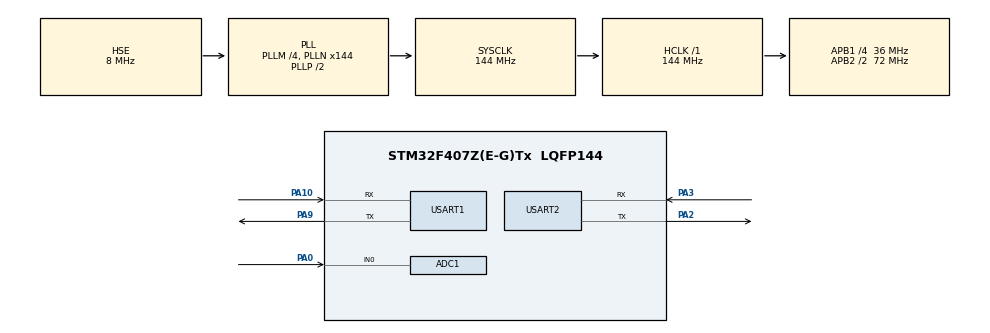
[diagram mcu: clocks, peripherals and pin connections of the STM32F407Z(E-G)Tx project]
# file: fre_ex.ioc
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ADC1.Channel-0\#ChannelRegularConversion=ADC_CHANNEL_0
ADC1.ClockPrescaler=ADC_CLOCK_SYNC_PCLK_DIV2
ADC1.ExternalTrigConv=ADC_EXTERNALTRIGCONV_T3_TRGO
ADC1.NbrOfConversionFlag=1
ADC1.Rank-0\#ChannelRegularConversion=1
ADC1.SamplingTime-0\#ChannelRegularConversion=ADC_SAMPLETIME_3CYCLES
ADC1.master=1
Dma.ADC1.0.Direction=DMA_PERIPH_TO_MEMORY
Dma.ADC1.0.FIFOMode=DMA_FIFOMODE_DISABLE
Dma.ADC1.0.Instance=DMA2_Stream0
Dma.ADC1.0.MemDataAlignment=DMA_MDATAALIGN_HALFWORD
Dma.ADC1.0.MemInc=DMA_MINC_ENABLE
Dma.ADC1.0.Mode=DMA_NORMAL
Dma.ADC1.0.PeriphDataAlignment=DMA_PDATAALIGN_HALFWORD
Dma.ADC1.0.PeriphInc=DMA_PINC_DISABLE
Dma.ADC1.0.Priority=DMA_PRIORITY_LOW
Dma.Request0=ADC1
Mcu.Family=STM32F4
Mcu.Name=STM32F407Z(E-G)Tx
Mcu.Package=LQFP144
NVIC.DMA2_Stream0_IRQn=true\:0\:0\:false\:false\:true\:false\:true\:true
NVIC.PriorityGroup=NVIC_PRIORITYGROUP_4
PA0-WKUP.Signal=ADCx_IN0
PA10.Mode=Asynchronous
PA10.Signal=USART1_RX
PA13.Mode=Serial_Wire
PA13.Signal=SYS_JTMS-SWDIO
PA14.Mode=Serial_Wire
PA14.Signal=SYS_JTCK-SWCLK
PA2.Mode=Asynchronous
PA2.Signal=USART2_TX
PA3.Mode=Asynchronous
PA3.Signal=USART2_RX
PA9.Mode=Asynchronous
PA9.Signal=USART1_TX
PH0-OSC_IN.Mode=HSE-External-Oscillator
PH0-OSC_IN.Signal=RCC_OSC_IN
PH1-OSC_OUT.Mode=HSE-External-Oscillator
PH1-OSC_OUT.Signal=RCC_OSC_OUT
ProjectManager.HeapSize=0x200
ProjectManager.StackSize=0x400
ProjectManager.TargetToolchain=MDK-ARM V5.32
RCC.48MHZClocksFreq_Value=72000000
RCC.AHBFreq_Value=144000000
RCC.APB1CLKDivider=RCC_HCLK_DIV4
RCC.APB1Freq_Value=36000000
RCC.APB1TimFreq_Value=72000000
RCC.APB2CLKDivider=RCC_HCLK_DIV2
RCC.APB2Freq_Value=72000000
RCC.APB2TimFreq_Value=144000000
RCC.CortexFreq_Value=144000000
RCC.HCLKFreq_Value=144000000
RCC.HSE_VALUE=8000000
RCC.HSI_VALUE=16000000
RCC.LSE_VALUE=32768
RCC.PLLM=4
RCC.PLLN=144
RCC.PLLSourceVirtual=RCC_PLLSOURCE_HSE
RCC.SYSCLKFreq_VALUE=144000000
RCC.SYSCLKSource=RCC_SYSCLKSOURCE_PLLCLK
RCC.VCOOutputFreq_Value=288000000
SH.ADCx_IN0.0=ADC1_IN0,IN0
TIM3.AutoReloadPreload=TIM_AUTORELOAD_PRELOAD_ENABLE
TIM3.Period=13-1
TIM3.Prescaler=3-1
TIM3.TIM_MasterOutputTrigger=TIM_TRGO_UPDATE
USART1.VirtualMode=VM_ASYNC
USART2.VirtualMode=VM_ASYNC
VP_TIM3_VS_ClockSourceINT.Mode=Internal
board=custom

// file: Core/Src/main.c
/* USER CODE BEGIN Header */
/**
  ******************************************************************************
  * @file           : main.c
  * @brief          : Main program body
  ******************************************************************************
  * @attention
  *
  * Copyright (c) 2025 STMicroelectronics.
  * All rights reserved.
  *
  * This software is licensed under terms that can be found in the LICENSE file
  * in the root directory of this software component.
  * If no LICENSE file comes with this software, it is provided AS-IS.
  *
  ******************************************************************************
  */
/* USER CODE END Header */
#include "main.h"
#include "adc.h"
#include "dma.h"
#include "tim.h"
#include "usart.h"
#include "gpio.h"

/* USER CODE BEGIN Includes */
#include "arm_math.h"
#include "arm_const_structs.h"
#include "stdio.h"
/* USER CODE END Includes */

/* USER CODE BEGIN PD */
#define FFT_LENGTH 1024
/* USER CODE END PD */

/* USER CODE BEGIN PV */
uint16_t adc_buff[200];//存放ADC采集的数据
/*
AdcConvEnd用来检测ADC是否采集完毕
0：没有采集完毕
1：采集完毕，在stm32f1xx_it里的DMA完成中断进行修改
 */
__IO uint8_t AdcConvEnd = 0;
uint16_t adcBuff[FFT_LENGTH];
float fft_inputbuf[FFT_LENGTH * 2];
float fft_outputbuf[FFT_LENGTH];
float vol[FFT_LENGTH];
uint32_t Pointmax = 0;
float volmax=0;
float volmin=3.3;
float fftmax = 0.0f;
float peakval=0;
///////////////////////////
float count=0;//作为判断波形的计数变量
float cnt=0;//作为判断计数的变量
/* USER CODE END PV */

void SystemClock_Config(void);
/* USER CODE BEGIN PFP */
void Calculate_Frequency(uint16_t *adc_data, uint32_t fft_size, float sampling_freq);
/* USER CODE END PFP */

int main(void)
{

  /* USER CODE BEGIN 1 */
  float sampling_freq = 1846153.84615f; // 修改为1MHz
  /* USER CODE END 1 */

  /* MCU Configuration--------------------------------------------------------*/

  /* Reset of all peripherals, Initializes the Flash interface and the Systick. */
  HAL_Init();

  /* Configure the system clock */
  SystemClock_Config();

  /* Initialize all configured peripherals */
  MX_GPIO_Init();
  MX_DMA_Init();
  MX_ADC1_Init();
  MX_TIM3_Init();
  MX_USART1_UART_Init();
  MX_USART2_UART_Init();
  /* USER CODE BEGIN 2 */
HAL_ADC_Start_DMA(&hadc1, (uint32_t *)adcBuff, FFT_LENGTH);
HAL_TIM_Base_Start(&htim3);

while (!AdcConvEnd)       //等待转换完毕
	;
Calculate_Frequency(adcBuff, FFT_LENGTH, sampling_freq);
HAL_ADC_Start_DMA(&hadc1, (uint32_t *)adcBuff, FFT_LENGTH);
 for(int i =0;i<100;i++)
 {
     //向曲线s0的通道0传输1个数据,add指令不支持跨页面
     printf("add s0.id,0,%.3f\xff\xff\xff",adc_buff[i]*3.3/4095);
 }
  /* USER CODE END 2 */

  /* Infinite loop */
  while (1)
  {
        }

}

void SystemClock_Config(void)
{
  RCC_OscInitTypeDef RCC_OscInitStruct = {0};
  RCC_ClkInitTypeDef RCC_ClkInitStruct = {0};

  /** Configure the main internal regulator output voltage
  */
  __HAL_RCC_PWR_CLK_ENABLE();
  __HAL_PWR_VOLTAGESCALING_CONFIG(PWR_REGULATOR_VOLTAGE_SCALE1);

  /** Initializes the RCC Oscillators according to the specified parameters
  * in the RCC_OscInitTypeDef structure.
  */
  RCC_OscInitStruct.OscillatorType = RCC_OSCILLATORTYPE_HSE;
  RCC_OscInitStruct.HSEState = RCC_HSE_ON;
  RCC_OscInitStruct.PLL.PLLState = RCC_PLL_ON;
  RCC_OscInitStruct.PLL.PLLSource = RCC_PLLSOURCE_HSE;
  RCC_OscInitStruct.PLL.PLLM = 4;
  RCC_OscInitStruct.PLL.PLLN = 144;
  RCC_OscInitStruct.PLL.PLLP = RCC_PLLP_DIV2;
  RCC_OscInitStruct.PLL.PLLQ = 4;
  if (HAL_RCC_OscConfig(&RCC_OscInitStruct) != HAL_OK)
  {
    Error_Handler();
  }

  /** Initializes the CPU, AHB and APB buses clocks
  */
  RCC_ClkInitStruct.ClockType = RCC_CLOCKTYPE_HCLK|RCC_CLOCKTYPE_SYSCLK
                              |RCC_CLOCKTYPE_PCLK1|RCC_CLOCKTYPE_PCLK2;
  RCC_ClkInitStruct.SYSCLKSource = RCC_SYSCLKSOURCE_PLLCLK;
  RCC_ClkInitStruct.AHBCLKDivider = RCC_SYSCLK_DIV1;
  RCC_ClkInitStruct.APB1CLKDivider = RCC_HCLK_DIV4;
  RCC_ClkInitStruct.APB2CLKDivider = RCC_HCLK_DIV2;

  if (HAL_RCC_ClockConfig(&RCC_ClkInitStruct, FLASH_LATENCY_4) != HAL_OK)
  {
    Error_Handler();
  }
}

/* USER CODE BEGIN 4 */
void Calculate_Frequency(uint16_t *adc_Buff, uint32_t fft_size, float sampling_freq)
{
    // 1. 准备FFT输入数据
for (int i = 0; i < FFT_LENGTH; i++)
{
fft_inputbuf[i * 2] = adcBuff[i] * 3.3 / 4096;//实部赋值，* 3.3 / 4096是为了将ADC采集到的值转换成实际电压
fft_inputbuf[i * 2 + 1] = 0;//虚部赋值，固定为0.
vol[i]=adcBuff[i] * 3.3 / 4096;//记录电压，以便比较
}
for  (int i = 1; i < FFT_LENGTH; i++)//输出各次谐波幅值
{
fft_outputbuf[i] /= 512;
}
    // 2. 执行FFT计算
arm_cfft_f32(&arm_cfft_sR_f32_len1024, fft_inputbuf, 0, 1);
    // 3. 计算幅度谱
arm_cmplx_mag_f32(fft_inputbuf, fft_outputbuf,FFT_LENGTH);
    // 4. 寻找基波频率（最大幅值对应的频率）
for (uint32_t i = 1; i < fft_size / 2; i++)
	{
if (fft_outputbuf[i] > fftmax)
	{
    fftmax = fft_outputbuf[i];
    Pointmax = i;
  }
if(vol[i]>volmax)		volmax=vol[i];//得出峰值
if(vol[i]<volmin)		volmin=vol[i];//得出谷值
  }
for (uint32_t i = 1; i < fft_size / 2; i++,cnt++)
{
	if(vol[i]>(volmax*(7/8)))//识别超过阈值的voltage，进行计数
	{
		count++;
	}
}
    // 5. 使用三点插值法提高频率精度
    float y1 = fft_outputbuf[Pointmax - 1];
    float y2 = fft_outputbuf[Pointmax];
    float y3 = fft_outputbuf[Pointmax + 1];
    // 抛物线插值公式
    float delta = 0.5f * (y3 - y1) / (2.0f * y2 - y1 - y3);
    float interpolated_idx = (float)Pointmax + delta;
    // 6. 计算实际频率
    float frequency = interpolated_idx * (sampling_freq / fft_size);
    // 7. 保留小数点后两位
    float freq= frequency * 100.0f / 100.0f;
		peakval = volmax-volmin;
		float signal=count/cnt;
		printf("\r\nFrequency: %.2f kHz\r\nPeakVol: %f V\n", freq/1000,peakval);
		printf("volmax: %.2f V\r\nvolmin: %2f V\n", volmax,volmin);
if(signal>0.9)	{printf("Signal Type : Sine wave\n");}
else						{printf("Signal Type : Square wave\n");}

//printf("peakvol.txt=\"%.2f V\"\xff\xff\xff",peakval);
//printf("freq.txt=\"%.2f kHZ\"\xff\xff\xff",freq/1000);

//if(signal>0.9)	{printf("type.txt=\"Sine\"\xff\xff\xff");}
//else						{printf("type.txt=\"Square\"\xff\xff\xff");}
printf("———————————————SCREEN UPDATE———————————————");

}
/* USER CODE END 4 */

void Error_Handler(void)
{
  __disable_irq();
  while (1)
  {
  }
}
